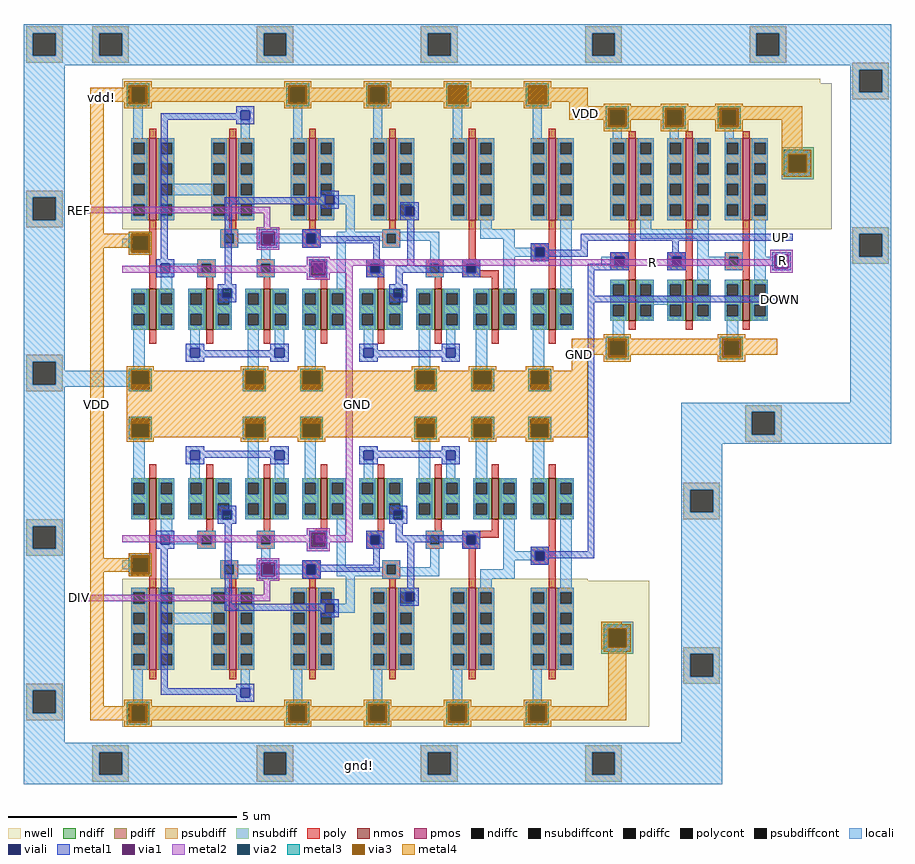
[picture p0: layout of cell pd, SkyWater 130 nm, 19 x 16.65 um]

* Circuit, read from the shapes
.subckt pd DIV DOWN GND R REF UP VDD
XM1 tspc_r_1/Z2 VDD GND GND sky130_fd_pr__nfet_01v8 w=0.9 l=0.15
XM2 tspc_r_0/Z2 VDD GND GND sky130_fd_pr__nfet_01v8 w=0.9 l=0.15
XM3 tspc_r_1/Z3 tspc_r_1/Z2 tspc_r_1/Z4 GND sky130_fd_pr__nfet_01v8 w=0.9 l=0.15
XM4 tspc_r_0/Z3 tspc_r_0/Z2 tspc_r_0/Z4 GND sky130_fd_pr__nfet_01v8 w=0.9 l=0.15
XM5 tspc_r_1/Z4 DIV GND GND sky130_fd_pr__nfet_01v8 w=0.9 l=0.15
XM6 tspc_r_0/Z4 REF GND GND sky130_fd_pr__nfet_01v8 w=0.9 l=0.15
XM7 tspc_r_1/Z3 R GND GND sky130_fd_pr__nfet_01v8 w=0.9 l=0.15
XM8 tspc_r_0/Z3 R GND GND sky130_fd_pr__nfet_01v8 w=0.9 l=0.15
XM9 tspc_r_1/Qbar1 DIV tspc_r_1/z5 GND sky130_fd_pr__nfet_01v8 w=0.9 l=0.15
XM10 tspc_r_0/Qbar1 REF tspc_r_0/z5 GND sky130_fd_pr__nfet_01v8 w=0.9 l=0.15
XM11 tspc_r_1/z5 tspc_r_1/Z3 GND GND sky130_fd_pr__nfet_01v8 w=0.9 l=0.15
XM12 tspc_r_0/z5 tspc_r_0/Z3 GND GND sky130_fd_pr__nfet_01v8 w=0.9 l=0.15
XM13 DOWN tspc_r_1/Qbar1 GND GND sky130_fd_pr__nfet_01v8 w=0.9 l=0.15
XM14 UP tspc_r_0/Qbar1 GND GND sky130_fd_pr__nfet_01v8 w=0.9 l=0.15
XM15 tspc_r_1/Qbar DOWN GND GND sky130_fd_pr__nfet_01v8 w=0.9 l=0.15
XM16 tspc_r_0/Qbar UP GND GND sky130_fd_pr__nfet_01v8 w=0.9 l=0.15
XM17 and_pd_0/Z1 DOWN GND GND sky130_fd_pr__nfet_01v8 w=0.9 l=0.15
XM18 and_pd_0/Out1 UP and_pd_0/Z1 GND sky130_fd_pr__nfet_01v8 w=0.9 l=0.15
XM19 R and_pd_0/Out1 GND GND sky130_fd_pr__nfet_01v8 w=0.9 l=0.15
XM20 tspc_r_1/Z1 VDD VDD VDD sky130_fd_pr__pfet_01v8 w=1.8 l=0.15
XM21 tspc_r_0/Z1 VDD VDD VDD sky130_fd_pr__pfet_01v8 w=1.8 l=0.15
XM22 tspc_r_1/Z2 DIV tspc_r_1/Z1 VDD sky130_fd_pr__pfet_01v8 w=1.8 l=0.15
XM23 tspc_r_0/Z2 REF tspc_r_0/Z1 VDD sky130_fd_pr__pfet_01v8 w=1.8 l=0.15
XM24 tspc_r_1/Z3 DIV VDD VDD sky130_fd_pr__pfet_01v8 w=1.8 l=0.15
XM25 tspc_r_0/Z3 REF VDD VDD sky130_fd_pr__pfet_01v8 w=1.8 l=0.15
XM26 tspc_r_1/Qbar1 tspc_r_1/Z3 VDD VDD sky130_fd_pr__pfet_01v8 w=1.8 l=0.15
XM27 tspc_r_0/Qbar1 tspc_r_0/Z3 VDD VDD sky130_fd_pr__pfet_01v8 w=1.8 l=0.15
XM28 DOWN tspc_r_1/Qbar1 VDD VDD sky130_fd_pr__pfet_01v8 w=1.8 l=0.15
XM29 UP tspc_r_0/Qbar1 VDD VDD sky130_fd_pr__pfet_01v8 w=1.8 l=0.15
XM30 tspc_r_1/Qbar DOWN VDD VDD sky130_fd_pr__pfet_01v8 w=1.8 l=0.15
XM31 tspc_r_0/Qbar UP VDD VDD sky130_fd_pr__pfet_01v8 w=1.8 l=0.15
XM32 and_pd_0/Out1 DOWN VDD VDD sky130_fd_pr__pfet_01v8 w=1.8 l=0.15
XM33 and_pd_0/Out1 UP VDD VDD sky130_fd_pr__pfet_01v8 w=1.8 l=0.15
XM34 R and_pd_0/Out1 VDD VDD sky130_fd_pr__pfet_01v8 w=1.8 l=0.15
.ends

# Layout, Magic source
magic
tech sky130A
<< nwell >>
rect 0 680 1530 690
rect 0 580 1555 680
rect 1430 360 1555 580
rect 995 -615 1155 -410
rect 0 -730 1155 -615
<< psubdiff >>
rect -210 790 -130 805
rect -210 740 -195 790
rect -145 740 -130 790
rect -210 725 -130 740
rect -65 790 15 805
rect -65 740 -50 790
rect 0 740 15 790
rect -65 725 15 740
rect 295 790 375 805
rect 295 740 310 790
rect 360 740 375 790
rect 295 725 375 740
rect 655 790 735 805
rect 655 740 670 790
rect 720 740 735 790
rect 655 725 735 740
rect 1015 790 1095 805
rect 1015 740 1030 790
rect 1080 740 1095 790
rect 1015 725 1095 740
rect 1375 790 1455 805
rect 1375 740 1390 790
rect 1440 740 1455 790
rect 1375 725 1455 740
rect 1600 710 1680 725
rect 1600 660 1615 710
rect 1665 660 1680 710
rect 1600 645 1680 660
rect -210 430 -130 445
rect -210 380 -195 430
rect -145 380 -130 430
rect -210 365 -130 380
rect 1600 350 1680 365
rect 1600 300 1615 350
rect 1665 300 1680 350
rect 1600 285 1680 300
rect -210 70 -130 85
rect -210 20 -195 70
rect -145 20 -130 70
rect -210 5 -130 20
rect 1365 -40 1445 -25
rect 1365 -90 1380 -40
rect 1430 -90 1445 -40
rect 1365 -105 1445 -90
rect 1230 -210 1310 -195
rect 1230 -260 1245 -210
rect 1295 -260 1310 -210
rect 1230 -275 1310 -260
rect -210 -290 -130 -275
rect -210 -340 -195 -290
rect -145 -340 -130 -290
rect -210 -355 -130 -340
rect 1230 -570 1310 -555
rect 1230 -620 1245 -570
rect 1295 -620 1310 -570
rect 1230 -635 1310 -620
rect -210 -650 -130 -635
rect -210 -700 -195 -650
rect -145 -700 -130 -650
rect -210 -715 -130 -700
rect -65 -785 15 -770
rect -65 -835 -50 -785
rect 0 -835 15 -785
rect -65 -850 15 -835
rect 295 -785 375 -770
rect 295 -835 310 -785
rect 360 -835 375 -785
rect 295 -850 375 -835
rect 655 -785 735 -770
rect 655 -835 670 -785
rect 720 -835 735 -785
rect 655 -850 735 -835
rect 1015 -785 1095 -770
rect 1015 -835 1030 -785
rect 1080 -835 1095 -785
rect 1015 -850 1095 -835
<< nsubdiff >>
rect 1445 525 1515 540
rect 1445 485 1460 525
rect 1500 485 1515 525
rect 1445 470 1515 485
rect 1050 -515 1120 -500
rect 1050 -555 1065 -515
rect 1105 -555 1120 -515
rect 1050 -570 1120 -555
<< psubdiffcont >>
rect -195 740 -145 790
rect -50 740 0 790
rect 310 740 360 790
rect 670 740 720 790
rect 1030 740 1080 790
rect 1390 740 1440 790
rect 1615 660 1665 710
rect -195 380 -145 430
rect 1615 300 1665 350
rect -195 20 -145 70
rect 1380 -90 1430 -40
rect 1245 -260 1295 -210
rect -195 -340 -145 -290
rect 1245 -620 1295 -570
rect -195 -700 -145 -650
rect -50 -835 0 -785
rect 310 -835 360 -785
rect 670 -835 720 -785
rect 1030 -835 1080 -785
<< nsubdiffcont >>
rect 1460 485 1500 525
rect 1065 -555 1105 -515
<< locali >>
rect -215 790 1685 810
rect -215 740 -195 790
rect -145 740 -50 790
rect 0 740 310 790
rect 360 740 670 790
rect 720 740 1030 790
rect 1080 740 1390 790
rect 1440 740 1685 790
rect -215 720 1685 740
rect -215 430 -125 720
rect 1595 710 1685 720
rect 1595 660 1615 710
rect 1665 660 1685 710
rect 1450 525 1510 535
rect 1450 485 1460 525
rect 1500 485 1510 525
rect 1450 475 1510 485
rect -215 380 -195 430
rect -145 380 -125 430
rect -215 70 -125 380
rect 1595 350 1685 660
rect 1595 300 1615 350
rect 1665 300 1685 350
rect -215 20 -195 70
rect -145 50 -125 70
rect -145 20 60 50
rect -215 15 60 20
rect -215 -290 -125 15
rect 1595 -20 1685 300
rect -215 -340 -195 -290
rect -145 -340 -125 -290
rect -215 -650 -125 -340
rect 1225 -40 1685 -20
rect 1225 -90 1380 -40
rect 1430 -90 1685 -40
rect 1225 -110 1685 -90
rect 1225 -210 1315 -110
rect 1225 -260 1245 -210
rect 1295 -260 1315 -210
rect 1055 -515 1115 -505
rect 1055 -555 1065 -515
rect 1105 -555 1115 -515
rect 1055 -565 1115 -555
rect -215 -700 -195 -650
rect -145 -700 -125 -650
rect -215 -765 -125 -700
rect 1225 -570 1315 -260
rect 1225 -620 1245 -570
rect 1295 -620 1315 -570
rect 1225 -765 1315 -620
rect -215 -785 1315 -765
rect -215 -835 -50 -785
rect 0 -835 310 -785
rect 360 -835 670 -785
rect 720 -835 1030 -785
rect 1080 -835 1315 -785
rect -215 -855 1315 -835
<< viali >>
rect 1460 485 1500 525
rect 30 320 50 340
rect 1080 280 1100 300
rect 1435 280 1455 300
rect 30 -385 50 -365
rect 1065 -555 1105 -515
<< metal1 >>
rect 1450 525 1510 535
rect 1450 485 1460 525
rect 1500 485 1510 525
rect 1450 475 1510 485
rect 20 345 60 350
rect 20 315 25 345
rect 55 315 60 345
rect 20 310 60 315
rect 1005 335 1050 350
rect 1200 335 1470 350
rect 1005 300 1020 335
rect 1070 300 1110 310
rect 1070 285 1080 300
rect 1020 280 1080 285
rect 1100 280 1110 300
rect 1020 270 1110 280
rect 1425 305 1465 310
rect 1425 275 1430 305
rect 1460 275 1465 305
rect 1425 270 1465 275
rect 1020 215 1035 270
rect 1020 200 1470 215
rect 20 -360 60 -355
rect 1020 -360 1035 200
rect 20 -390 25 -360
rect 55 -390 60 -360
rect 20 -395 60 -390
rect 1055 -515 1115 -505
rect 1055 -555 1065 -515
rect 1105 -555 1115 -515
rect 1055 -565 1115 -555
<< via1 >>
rect 1460 485 1500 525
rect 25 340 55 345
rect 25 320 30 340
rect 30 320 50 340
rect 50 320 55 340
rect 25 315 55 320
rect 1430 300 1460 305
rect 1430 280 1435 300
rect 1435 280 1455 300
rect 1455 280 1460 300
rect 1430 275 1460 280
rect 25 -365 55 -360
rect 25 -385 30 -365
rect 30 -385 50 -365
rect 50 -385 55 -365
rect 25 -390 55 -385
rect 1065 -555 1105 -515
<< metal2 >>
rect 1450 525 1510 535
rect 1450 485 1460 525
rect 1500 485 1510 525
rect 1450 475 1510 485
rect -115 395 0 410
rect 20 345 60 350
rect 20 315 25 345
rect 55 315 60 345
rect 20 310 60 315
rect 1420 305 1470 315
rect 1420 295 1430 305
rect 415 280 1430 295
rect 420 265 505 280
rect 1420 275 1430 280
rect 1460 275 1470 305
rect 1420 265 1470 275
rect 490 -310 505 265
rect 425 -325 505 -310
rect 15 -360 65 -350
rect 15 -390 25 -360
rect 55 -390 65 -360
rect 15 -400 65 -390
rect -115 -455 0 -440
rect 1055 -515 1115 -505
rect 1055 -555 1065 -515
rect 1105 -555 1115 -515
rect 1055 -565 1115 -555
<< via2 >>
rect 1460 485 1500 525
rect 25 315 55 345
rect 25 -390 55 -360
rect 1065 -555 1105 -515
<< metal3 >>
rect 1450 525 1510 535
rect 1450 485 1460 525
rect 1500 485 1510 525
rect 1450 475 1510 485
rect 15 350 65 355
rect 15 310 20 350
rect 60 310 65 350
rect 15 305 65 310
rect 15 -355 65 -350
rect 15 -395 20 -355
rect 60 -395 65 -355
rect 15 -400 65 -395
rect 1055 -515 1115 -505
rect 1055 -555 1065 -515
rect 1105 -555 1115 -515
rect 1055 -565 1115 -555
<< via3 >>
rect 1460 485 1500 525
rect 20 345 60 350
rect 20 315 25 345
rect 25 315 55 345
rect 55 315 60 345
rect 20 310 60 315
rect 20 -360 60 -355
rect 20 -390 25 -360
rect 25 -390 55 -360
rect 55 -390 60 -360
rect 20 -395 60 -390
rect 1065 -555 1105 -515
<< metal4 >>
rect -70 640 20 670
rect 720 640 925 670
rect -70 350 -40 640
rect 1405 600 1490 630
rect 1445 535 1490 600
rect 1445 525 1510 535
rect 1445 485 1460 525
rect 1500 485 1510 525
rect 1445 480 1510 485
rect 1450 475 1510 480
rect 15 350 65 355
rect -70 320 20 350
rect -70 -360 -40 320
rect 15 310 20 320
rect 60 310 65 350
rect 15 305 65 310
rect 10 -65 1020 20
rect 15 -355 65 -350
rect 15 -360 20 -355
rect -70 -390 20 -360
rect -70 -685 -40 -390
rect 15 -395 20 -390
rect 60 -395 65 -355
rect 15 -400 65 -395
rect 1050 -505 1095 -500
rect 1050 -515 1115 -505
rect 1050 -555 1065 -515
rect 1105 -555 1115 -515
rect 1050 -560 1115 -555
rect 1055 -565 1115 -560
rect 1065 -685 1105 -565
rect -70 -715 20 -685
rect 1020 -715 1105 -685
use and_pd  and_pd_0
transform 1 0 1100 0 1 395
box -120 -375 335 275
use tspc_r  tspc_r_1
transform 1 0 145 0 -1 -425
box -145 -380 875 305
use tspc_r  tspc_r_0
transform 1 0 145 0 1 380
box -145 -380 875 305
<< labels >>
rlabel nwell 980 600 1050 630 1 VDD
rlabel nwell 980 630 1020 640 1 VDD
rlabel space 985 50 1020 120 1 GND
rlabel space 985 85 1050 120 1 GND
rlabel metal4 10 -65 1020 20 1 GND
rlabel metal4 -70 -715 -40 670 1 VDD
rlabel metal2 -115 395 -70 410 1 REF
rlabel metal2 -115 -455 -70 -440 1 DIV
rlabel metal1 1415 335 1470 350 1 UP
rlabel metal1 1415 200 1470 215 1 DOWN
rlabel metal2 1435 280 1460 305 1 R
rlabel metal2 1140 280 1185 295 1 R
rlabel locali 521 -815 521 -815 1 gnd!
rlabel metal4 -44 648 -44 648 1 vdd!
<< end >>

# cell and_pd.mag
magic
tech sky130A
<< nwell >>
rect -80 -35 335 265
<< nmos >>
rect 10 -235 25 -145
rect 135 -235 150 -145
rect 260 -235 275 -145
<< pmos >>
rect 10 -15 25 165
rect 135 -15 150 165
rect 260 -15 275 165
<< ndiff >>
rect -30 -155 10 -145
rect -30 -180 -25 -155
rect 0 -180 10 -155
rect -30 -200 10 -180
rect -30 -225 -25 -200
rect 0 -225 10 -200
rect -30 -235 10 -225
rect 25 -155 65 -145
rect 25 -180 35 -155
rect 60 -180 65 -155
rect 25 -200 65 -180
rect 25 -225 35 -200
rect 60 -225 65 -200
rect 25 -235 65 -225
rect 95 -155 135 -145
rect 95 -180 100 -155
rect 125 -180 135 -155
rect 95 -200 135 -180
rect 95 -225 100 -200
rect 125 -225 135 -200
rect 95 -235 135 -225
rect 150 -155 190 -145
rect 150 -180 160 -155
rect 185 -180 190 -155
rect 150 -200 190 -180
rect 150 -225 160 -200
rect 185 -225 190 -200
rect 150 -235 190 -225
rect 220 -155 260 -145
rect 220 -180 225 -155
rect 250 -180 260 -155
rect 220 -200 260 -180
rect 220 -225 225 -200
rect 250 -225 260 -200
rect 220 -235 260 -225
rect 275 -155 315 -145
rect 275 -180 285 -155
rect 310 -180 315 -155
rect 275 -200 315 -180
rect 275 -225 285 -200
rect 310 -225 315 -200
rect 275 -235 315 -225
<< pdiff >>
rect -30 155 10 165
rect -30 130 -25 155
rect 0 130 10 155
rect -30 110 10 130
rect -30 85 -25 110
rect 0 85 10 110
rect -30 65 10 85
rect -30 40 -25 65
rect 0 40 10 65
rect -30 20 10 40
rect -30 -5 -25 20
rect 0 -5 10 20
rect -30 -15 10 -5
rect 25 155 65 165
rect 25 130 35 155
rect 60 130 65 155
rect 25 110 65 130
rect 25 85 35 110
rect 60 85 65 110
rect 25 65 65 85
rect 25 40 35 65
rect 60 40 65 65
rect 25 20 65 40
rect 25 -5 35 20
rect 60 -5 65 20
rect 25 -15 65 -5
rect 95 155 135 165
rect 95 130 100 155
rect 125 130 135 155
rect 95 110 135 130
rect 95 85 100 110
rect 125 85 135 110
rect 95 65 135 85
rect 95 40 100 65
rect 125 40 135 65
rect 95 20 135 40
rect 95 -5 100 20
rect 125 -5 135 20
rect 95 -15 135 -5
rect 150 155 190 165
rect 150 130 160 155
rect 185 130 190 155
rect 150 110 190 130
rect 150 85 160 110
rect 185 85 190 110
rect 150 65 190 85
rect 150 40 160 65
rect 185 40 190 65
rect 150 20 190 40
rect 150 -5 160 20
rect 185 -5 190 20
rect 150 -15 190 -5
rect 220 155 260 165
rect 220 130 225 155
rect 250 130 260 155
rect 220 110 260 130
rect 220 85 225 110
rect 250 85 260 110
rect 220 65 260 85
rect 220 40 225 65
rect 250 40 260 65
rect 220 20 260 40
rect 220 -5 225 20
rect 250 -5 260 20
rect 220 -15 260 -5
rect 275 155 315 165
rect 275 130 285 155
rect 310 130 315 155
rect 275 110 315 130
rect 275 85 285 110
rect 310 85 315 110
rect 275 65 315 85
rect 275 40 285 65
rect 310 40 315 65
rect 275 20 315 40
rect 275 -5 285 20
rect 310 -5 315 20
rect 275 -15 315 -5
<< ndiffc >>
rect -25 -180 0 -155
rect -25 -225 0 -200
rect 35 -180 60 -155
rect 35 -225 60 -200
rect 100 -180 125 -155
rect 100 -225 125 -200
rect 160 -180 185 -155
rect 160 -225 185 -200
rect 225 -180 250 -155
rect 225 -225 250 -200
rect 285 -180 310 -155
rect 285 -225 310 -200
<< pdiffc >>
rect -25 130 0 155
rect -25 85 0 110
rect -25 40 0 65
rect -25 -5 0 20
rect 35 130 60 155
rect 35 85 60 110
rect 35 40 60 65
rect 35 -5 60 20
rect 100 130 125 155
rect 100 85 125 110
rect 100 40 125 65
rect 100 -5 125 20
rect 160 130 185 155
rect 160 85 185 110
rect 160 40 185 65
rect 160 -5 185 20
rect 225 130 250 155
rect 225 85 250 110
rect 225 40 250 65
rect 225 -5 250 20
rect 285 130 310 155
rect 285 85 310 110
rect 285 40 310 65
rect 285 -5 310 20
<< poly >>
rect 10 165 25 180
rect 135 165 150 180
rect 260 165 275 180
rect 10 -85 25 -15
rect 135 -85 150 -15
rect 260 -85 275 -15
rect -30 -95 25 -85
rect -30 -115 -20 -95
rect 0 -115 25 -95
rect -30 -125 25 -115
rect 95 -95 150 -85
rect 95 -115 105 -95
rect 125 -115 150 -95
rect 95 -125 150 -115
rect 220 -95 275 -85
rect 220 -115 230 -95
rect 250 -115 275 -95
rect 220 -125 275 -115
rect 10 -145 25 -125
rect 135 -145 150 -125
rect 260 -145 275 -125
rect 10 -255 25 -235
rect 135 -255 150 -235
rect 260 -255 275 -235
<< polycont >>
rect -20 -115 0 -95
rect 105 -115 125 -95
rect 230 -115 250 -95
<< locali >>
rect -25 165 -5 200
rect 100 165 120 200
rect 220 165 240 200
rect -30 155 5 165
rect -30 130 -25 155
rect 0 130 5 155
rect -30 110 5 130
rect -30 85 -25 110
rect 0 85 5 110
rect -30 65 5 85
rect -30 40 -25 65
rect 0 40 5 65
rect -30 20 5 40
rect -30 -5 -25 20
rect 0 -5 5 20
rect -30 -15 5 -5
rect 30 155 65 165
rect 30 130 35 155
rect 60 130 65 155
rect 30 110 65 130
rect 30 85 35 110
rect 60 85 65 110
rect 30 65 65 85
rect 30 40 35 65
rect 60 40 65 65
rect 30 20 65 40
rect 30 -5 35 20
rect 60 -5 65 20
rect 30 -15 65 -5
rect 95 155 130 165
rect 95 130 100 155
rect 125 130 130 155
rect 95 110 130 130
rect 95 85 100 110
rect 125 85 130 110
rect 95 65 130 85
rect 95 40 100 65
rect 125 40 130 65
rect 95 20 130 40
rect 95 -5 100 20
rect 125 -5 130 20
rect 95 -15 130 -5
rect 155 155 190 165
rect 155 130 160 155
rect 185 130 190 155
rect 155 110 190 130
rect 155 85 160 110
rect 185 85 190 110
rect 155 65 190 85
rect 155 40 160 65
rect 185 40 190 65
rect 155 20 190 40
rect 155 -5 160 20
rect 185 -5 190 20
rect 155 -15 190 -5
rect 220 155 255 165
rect 220 130 225 155
rect 250 130 255 155
rect 220 110 255 130
rect 220 85 225 110
rect 250 85 255 110
rect 220 65 255 85
rect 220 40 225 65
rect 250 40 255 65
rect 220 20 255 40
rect 220 -5 225 20
rect 250 -5 255 20
rect 220 -15 255 -5
rect 280 155 315 165
rect 280 130 285 155
rect 310 130 315 155
rect 280 110 315 130
rect 280 85 285 110
rect 310 85 315 110
rect 280 65 315 85
rect 280 40 285 65
rect 310 40 315 65
rect 280 20 315 40
rect 280 -5 285 20
rect 310 -5 315 20
rect 280 -15 315 -5
rect 35 -35 60 -15
rect 160 -35 185 -15
rect 35 -55 185 -35
rect -30 -95 10 -85
rect -50 -115 -20 -95
rect 0 -115 10 -95
rect -30 -125 10 -115
rect 95 -95 135 -85
rect 95 -115 105 -95
rect 125 -115 135 -95
rect 95 -125 135 -115
rect 160 -95 185 -55
rect 220 -95 260 -85
rect 160 -115 230 -95
rect 250 -115 260 -95
rect 160 -145 185 -115
rect 220 -125 260 -115
rect 285 -95 310 -15
rect 285 -115 335 -95
rect 285 -145 310 -115
rect -30 -155 5 -145
rect -30 -180 -25 -155
rect 0 -180 5 -155
rect -30 -200 5 -180
rect -30 -225 -25 -200
rect 0 -225 5 -200
rect -30 -235 5 -225
rect 30 -155 65 -145
rect 30 -180 35 -155
rect 60 -180 65 -155
rect 95 -155 130 -145
rect 95 -180 100 -155
rect 125 -180 130 -155
rect 30 -200 130 -180
rect 30 -225 35 -200
rect 60 -225 65 -200
rect 30 -235 65 -225
rect 95 -225 100 -200
rect 125 -225 130 -200
rect 95 -235 130 -225
rect 155 -155 190 -145
rect 155 -180 160 -155
rect 185 -180 190 -155
rect 155 -200 190 -180
rect 155 -225 160 -200
rect 185 -225 190 -200
rect 155 -235 190 -225
rect 220 -155 255 -145
rect 220 -180 225 -155
rect 250 -180 255 -155
rect 220 -200 255 -180
rect 220 -225 225 -200
rect 250 -225 255 -200
rect 220 -235 255 -225
rect 280 -155 315 -145
rect 280 -180 285 -155
rect 310 -180 315 -155
rect 280 -200 315 -180
rect 280 -225 285 -200
rect 310 -225 315 -200
rect 280 -235 315 -225
rect -25 -285 0 -235
rect -5 -295 0 -285
rect 225 -285 250 -235
rect 245 -295 250 -285
<< viali >>
rect -25 200 -5 220
rect 100 200 120 220
rect 220 200 240 220
rect 105 -115 125 -95
rect -25 -305 -5 -285
rect 225 -305 245 -285
<< metal1 >>
rect -35 225 5 230
rect -35 195 -30 225
rect 0 195 5 225
rect -35 190 5 195
rect 90 225 130 230
rect 90 195 95 225
rect 125 195 130 225
rect 90 190 130 195
rect 210 225 250 230
rect 210 195 215 225
rect 245 195 250 225
rect 210 190 250 195
rect -50 -60 120 -45
rect 105 -85 120 -60
rect 95 -95 135 -85
rect 95 -115 105 -95
rect 125 -115 135 -95
rect 95 -125 135 -115
rect -35 -280 5 -275
rect -35 -310 -30 -280
rect 0 -310 5 -280
rect -35 -315 5 -310
rect 215 -280 255 -275
rect 215 -310 220 -280
rect 250 -310 255 -280
rect 215 -315 255 -310
<< via1 >>
rect -30 220 0 225
rect -30 200 -25 220
rect -25 200 -5 220
rect -5 200 0 220
rect -30 195 0 200
rect 95 220 125 225
rect 95 200 100 220
rect 100 200 120 220
rect 120 200 125 220
rect 95 195 125 200
rect 215 220 245 225
rect 215 200 220 220
rect 220 200 240 220
rect 240 200 245 220
rect 215 195 245 200
rect -30 -285 0 -280
rect -30 -305 -25 -285
rect -25 -305 -5 -285
rect -5 -305 0 -285
rect -30 -310 0 -305
rect 220 -285 250 -280
rect 220 -305 225 -285
rect 225 -305 245 -285
rect 245 -305 250 -285
rect 220 -310 250 -305
<< metal2 >>
rect -40 225 10 235
rect -40 195 -30 225
rect 0 195 10 225
rect -40 185 10 195
rect 85 225 135 235
rect 85 195 95 225
rect 125 195 135 225
rect 85 185 135 195
rect 205 225 255 235
rect 205 195 215 225
rect 245 195 255 225
rect 205 185 255 195
rect -40 -280 10 -270
rect -40 -310 -30 -280
rect 0 -310 10 -280
rect -40 -320 10 -310
rect 210 -280 260 -270
rect 210 -310 220 -280
rect 250 -310 260 -280
rect 210 -320 260 -310
<< via2 >>
rect -30 195 0 225
rect 95 195 125 225
rect 215 195 245 225
rect -30 -310 0 -280
rect 220 -310 250 -280
<< metal3 >>
rect -40 230 10 235
rect -40 190 -35 230
rect 5 190 10 230
rect -40 185 10 190
rect 85 230 135 235
rect 85 190 90 230
rect 130 190 135 230
rect 85 185 135 190
rect 205 230 255 235
rect 205 190 210 230
rect 250 190 255 230
rect 205 185 255 190
rect -40 -275 10 -270
rect -40 -315 -35 -275
rect 5 -315 10 -275
rect -40 -320 10 -315
rect 210 -275 260 -270
rect 210 -315 215 -275
rect 255 -315 260 -275
rect 210 -320 260 -315
<< via3 >>
rect -35 225 5 230
rect -35 195 -30 225
rect -30 195 0 225
rect 0 195 5 225
rect -35 190 5 195
rect 90 225 130 230
rect 90 195 95 225
rect 95 195 125 225
rect 125 195 130 225
rect 90 190 130 195
rect 210 225 250 230
rect 210 195 215 225
rect 215 195 245 225
rect 245 195 250 225
rect 210 190 250 195
rect -35 -280 5 -275
rect -35 -310 -30 -280
rect -30 -310 0 -280
rect 0 -310 5 -280
rect -35 -315 5 -310
rect 215 -280 255 -275
rect 215 -310 220 -280
rect 220 -310 250 -280
rect 250 -310 255 -280
rect 215 -315 255 -310
<< metal4 >>
rect -120 235 -80 275
rect -45 235 15 240
rect 80 235 140 240
rect 200 235 260 240
rect -120 230 335 235
rect -120 205 -35 230
rect -45 190 -35 205
rect 5 205 90 230
rect 5 190 15 205
rect -45 180 15 190
rect 80 190 90 205
rect 130 205 210 230
rect 130 190 140 205
rect 80 180 140 190
rect 200 190 210 205
rect 250 205 335 230
rect 250 190 260 205
rect 200 180 260 190
rect -45 -275 15 -265
rect 205 -275 265 -265
rect -115 -310 -35 -275
rect -115 -375 -80 -310
rect -45 -315 -35 -310
rect 5 -310 215 -275
rect 5 -315 15 -310
rect -45 -325 15 -315
rect 205 -315 215 -310
rect 255 -310 335 -275
rect 255 -315 265 -310
rect 205 -325 265 -315
<< labels >>
rlabel nwell -50 205 335 235 1 VDD
rlabel metal4 -50 -310 335 -275 1 GND
rlabel locali 65 -200 95 -180 1 Z1
rlabel locali 160 -115 260 -95 1 Out1
rlabel locali 285 -115 335 -95 1 Out
rlabel locali -50 -115 0 -95 1 A
rlabel metal1 -50 -60 10 -45 1 B
<< end >>

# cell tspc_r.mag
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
